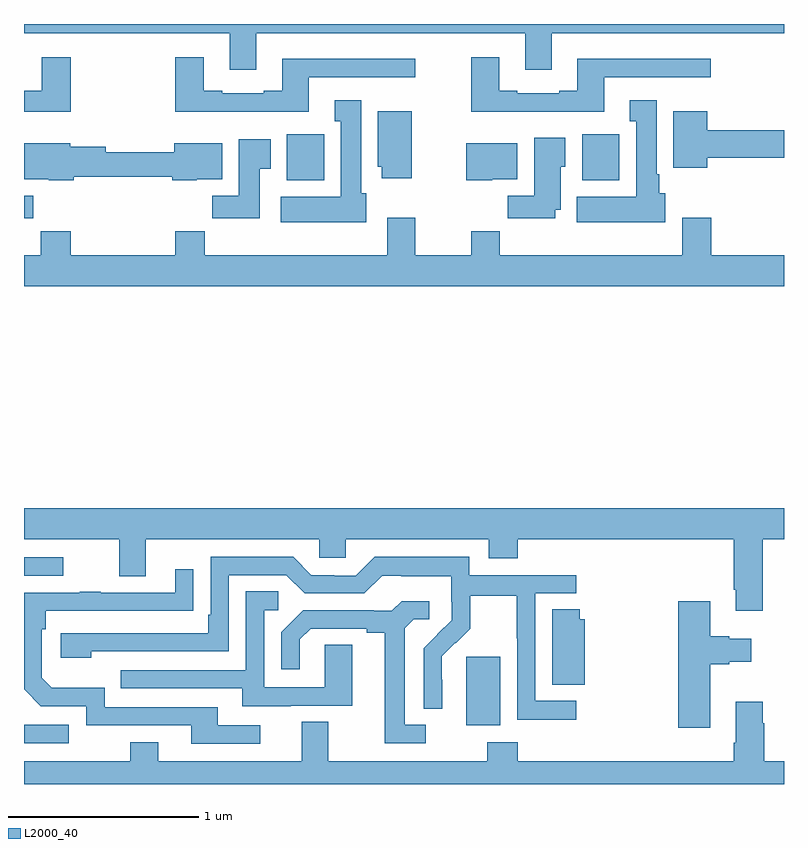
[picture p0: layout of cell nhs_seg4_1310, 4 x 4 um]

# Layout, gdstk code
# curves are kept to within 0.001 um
import gdstk
lib = gdstk.Library(unit=1e-6, precision=1e-09)
def R(c, l, rs):  # rectangles x0, y0, x1, y1
    for r in rs: c.add(gdstk.rectangle(r[:2], r[2:], *l))
def P(c, l, *ps):  # polygons
    for p in ps: c.add(gdstk.Polygon(p, *l))
L2000_40 = (2000, 40)

nhs_seg4_1310 = lib.new_cell('nhs_seg4_1310')
R(nhs_seg4_1310, L2000_40, [(179,761.115,179.236,761.211), (181.328,761.21,181.507,761.571), (179,761.997,179.206,762.093), (179,763.878,179.048,763.996), (180.383,764.078,180.58,764.32), (181.937,764.078,182.134,764.32)])
P(nhs_seg4_1310, L2000_40, [(180.223,764.852),(181.637,764.852),(181.637,764.658),(181.777,764.658),(181.777,764.852),(183,764.852),(183,764.9),(179,764.9),(179,764.852),(180.083,764.852),(180.083,764.658),(180.223,764.658)],
  [(179.246,764.725),(179.093,764.725),(179.093,764.548),(179,764.548),(179,764.438),(179.246,764.438)],
  [(180.499,764.619),(181.06,764.619),(181.06,764.716),(180.359,764.716),(180.359,764.548),(180.263,764.548),(180.263,764.535),(180.043,764.535),(180.043,764.548),(179.947,764.548),(179.947,764.725),(179.795,764.725),(179.795,764.438),(180.499,764.438)],
  [(182.053,764.619),(182.614,764.619),(182.614,764.716),(181.913,764.716),(181.913,764.548),(181.817,764.548),(181.817,764.535),(181.597,764.535),(181.597,764.548),(181.501,764.548),(181.501,764.725),(181.354,764.725),(181.354,764.438),(182.053,764.438)],
  [(182.374,764.01),(182.344,764.01),(182.344,764.11),(182.329,764.11),(182.329,764.5),(182.189,764.5),(182.189,764.387),(182.222,764.387),(182.222,763.99),(181.91,763.99),(181.91,763.856),(182.374,763.856)],
  [(180.802,764.01),(180.775,764.01),(180.775,764.5),(180.635,764.5),(180.635,764.387),(180.668,764.387),(180.668,763.99),(180.351,763.99),(180.351,763.856),(180.802,763.856)],
  [(181.042,764.44),(180.863,764.44),(180.863,764.148),(180.884,764.148),(180.884,764.088),(181.042,764.088)],
  [(182.596,764.195),(183,764.195),(183,764.342),(182.596,764.342),(182.596,764.44),(182.417,764.44),(182.417,764.144),(182.596,764.144)],
  [(181.795,763.922),(181.825,763.922),(181.825,764.148),(181.849,764.148),(181.849,764.302),(181.685,764.302),(181.685,763.996),(181.546,763.996),(181.546,763.878),(181.795,763.878)],
  [(180.241,764.137),(180.298,764.137),(180.298,764.293),(180.131,764.293),(180.131,763.996),(179.992,763.996),(179.992,763.878),(180.241,763.878)],
  [(179.261,764.097),(179.78,764.097),(179.78,764.078),(179.91,764.078),(179.91,764.084),(180.043,764.084),(180.043,764.272),(179.792,764.272),(179.792,764.225),(179.431,764.225),(179.431,764.254),(179.244,764.254),(179.244,764.272),(179,764.272),(179,764.084),(179.13,764.084),(179.13,764.078),(179.261,764.078)],
  [(181.464,764.084),(181.597,764.084),(181.597,764.272),(181.328,764.272),(181.328,764.078),(181.464,764.078)],
  [(183,763.684),(182.618,763.684),(182.618,763.879),(182.465,763.879),(182.465,763.684),(181.505,763.684),(181.505,763.808),(181.354,763.808),(181.354,763.684),(181.059,763.684),(181.059,763.879),(180.911,763.879),(180.911,763.684),(179.951,763.684),(179.951,763.808),(179.795,763.808),(179.795,763.684),(179.246,763.684),(179.246,763.808),(179.089,763.808),(179.089,763.684),(179,763.684),(179,763.52),(183,763.52)],
  [(182.887,762.188),(183,762.188),(183,762.352),(179,762.352),(179,762.188),(179.501,762.188),(179.501,761.994),(179.641,761.994),(179.641,762.188),(180.555,762.188),(180.555,762.09),(180.693,762.09),(180.693,762.188),(181.445,762.188),(181.445,762.089),(181.598,762.089),(181.598,762.188),(182.735,762.188),(182.735,761.923),(182.747,761.923),(182.747,761.811),(182.887,761.811)],
  [(181.906,761.337),(181.692,761.337),(181.692,761.904),(181.906,761.904),(181.906,762),(181.344,762),(181.344,762.097),(180.847,762.097),(180.747,761.997),(180.632,761.997),(180.632,762),(180.513,762),(180.417,762.096),(179.982,762.096),(179.982,761.791),(179.969,761.791),(179.969,761.694),(179.193,761.694),(179.193,761.564),(179.354,761.564),(179.354,761.598),(180.078,761.598),(180.078,762),(180.381,762),(180.477,761.904),(180.792,761.904),(180.885,761.997),(180.985,761.997),(180.985,761.993),(181.248,761.993),(181.248,761.859),(181.25,761.859),(181.25,761.762),(181.104,761.614),(181.104,761.296),(181.2,761.296),(181.199,761.573),(181.269,761.643),(181.272,761.64),(181.349,761.717),(181.349,761.892),(181.594,761.892),(181.594,761.668),(181.596,761.668),(181.596,761.239),(181.906,761.239)],
  [(180.244,761.208),(180.019,761.208),(180.019,761.304),(179.424,761.304),(179.424,761.407),(179.147,761.407),(179.094,761.46),(179.094,761.714),(179.114,761.714),(179.114,761.811),(179.891,761.812),(179.891,762.031),(179.795,762.031),(179.795,761.907),(179.405,761.907),(179.405,761.912),(179.293,761.912),(179.293,761.907),(179,761.907),(179,761.398),(179.088,761.31),(179.328,761.31),(179.328,761.208),(179.879,761.208),(179.879,761.112),(180.244,761.112)],
  [(180.403,761.313),(180.727,761.313),(180.727,761.633),(180.582,761.633),(180.582,761.409),(180.264,761.409),(180.264,761.814),(180.337,761.814),(180.337,761.915),(180.168,761.915),(180.168,761.499),(179.509,761.499),(179.509,761.403),(180.149,761.403),(180.149,761.309),(180.403,761.309)],
  [(181.114,761.211),(181.003,761.211),(181.003,761.719),(181.05,761.766),(181.132,761.766),(181.132,761.863),(180.988,761.863),(180.936,761.811),(180.842,761.811),(180.842,761.814),(180.47,761.814),(180.354,761.698),(180.354,761.505),(180.451,761.505),(180.451,761.661),(180.508,761.718),(180.803,761.718),(180.803,761.696),(180.899,761.696),(180.899,761.115),(181.114,761.115)],
  [(182.611,761.531),(182.711,761.531),(182.711,761.543),(182.827,761.543),(182.827,761.665),(182.711,761.665),(182.711,761.678),(182.611,761.678),(182.611,761.863),(182.444,761.863),(182.444,761.196),(182.611,761.196)],
  [(181.952,761.766),(181.925,761.766),(181.925,761.819),(181.781,761.819),(181.781,761.422),(181.952,761.422)],
  [(183,761.02),(182.895,761.02),(182.895,761.219),(182.887,761.219),(182.887,761.332),(182.747,761.332),(182.747,761.116),(182.735,761.116),(182.735,761.02),(181.598,761.02),(181.598,761.119),(181.438,761.119),(181.438,761.02),(180.601,761.02),(180.601,761.228),(180.461,761.228),(180.461,761.02),(179.707,761.02),(179.707,761.119),(179.56,761.119),(179.56,761.02),(179,761.02),(179,760.9),(183,760.9)])

lib.write_gds('nhs_seg4_1310.gds')
